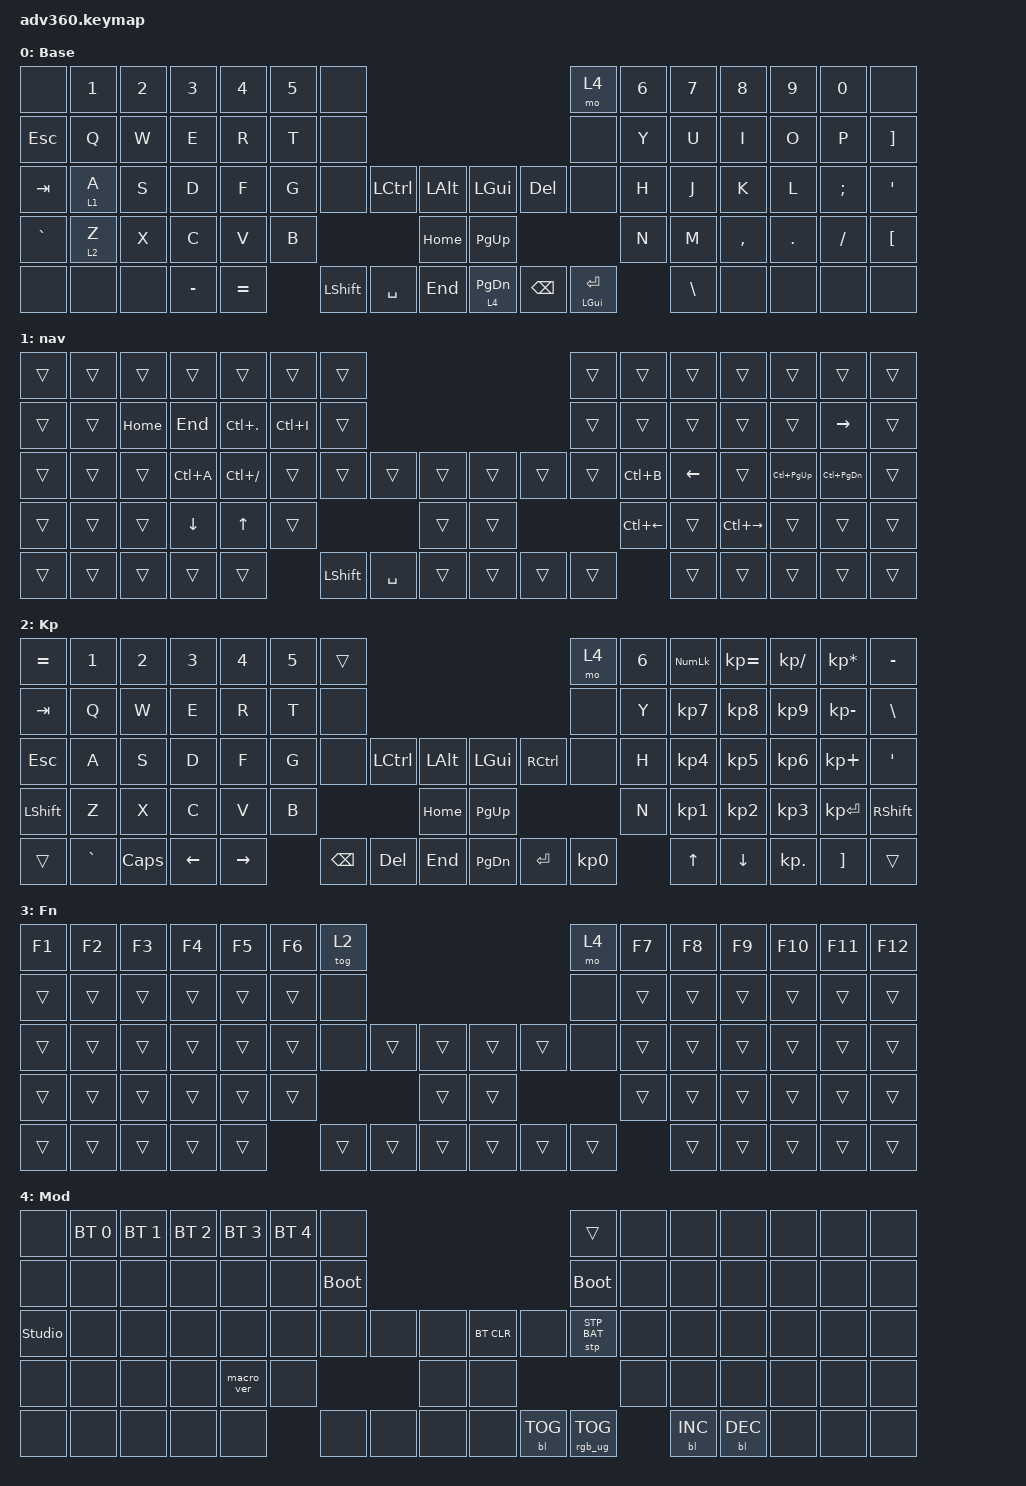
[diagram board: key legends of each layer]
#include <dt-bindings/zmk/stp.h>
#include <behaviors.dtsi>
#include <dt-bindings/zmk/backlight.h>
#include <dt-bindings/zmk/bt.h>
#include <dt-bindings/zmk/keys.h>
#include <dt-bindings/zmk/rgb.h>

&mt {
    tapping-term-ms = <145>;
    quick-tap-ms = <150>;
    require-prior-idle-ms = <100>;
    flavor = "balanced";
};

/ {
    behaviors {
        #include "macros.dtsi"
      #include "version.dtsi"

        hm: homerow_mods {
            compatible = "zmk,behavior-hold-tap";
            label = "HOMEROW_MODS";
            #binding-cells = <2>;
            tapping-term-ms = <145>;
            quick_tap_ms = <150>;
            flavor = "balanced";
            bindings = <&kp>, <&kp>;

            require-prior-idle-ms = <100>;
            quick-tap-ms = <150>;
        };
    };

    keymap {
        compatible = "zmk,keymap";

        default_layer {
            display-name = "Base";
            bindings = <
&none       &kp N1   &kp N2  &kp N3     &kp N4     &kp N5  &none                                                                &mo 4               &kp N6  &kp N7    &kp N8     &kp N9   &kp N0    &none
&kp ESCAPE  &kp Q    &kp W   &kp E      &kp R      &kp T   &none                                                                &none               &kp Y   &kp U     &kp I      &kp O    &kp P     &kp RIGHT_BRACKET
&kp TAB     &lt 1 A  &kp S   &kp D      &kp F      &kp G   &none           &kp LCTRL  &kp LALT      &kp LGUI     &kp DELETE     &none               &kp H   &kp J     &kp K      &kp L    &kp SEMI  &kp SQT
&kp GRAVE   &lt 2 Z  &kp X   &kp C      &kp V      &kp B                              &kp HOME      &kp PG_UP                                       &kp N   &kp M     &kp COMMA  &kp DOT  &kp FSLH  &kp LEFT_BRACKET
&none       &none    &none   &kp MINUS  &kp EQUAL          &kp LEFT_SHIFT  &kp SPACE  &kp END       &lt 4 PG_DN  &kp BACKSPACE  &mt LEFT_GUI ENTER          &kp BSLH  &none      &none    &none     &none
            >;
        };

        nav {
            bindings = <
&trans  &trans  &trans    &trans          &trans          &trans     &trans                                                 &trans  &trans              &trans          &trans         &trans         &trans             &trans
&trans  &trans  &kp HOME  &kp END         &kp LC(PERIOD)  &kp LC(I)  &trans                                                 &trans  &trans              &trans          &trans         &trans         &kp RIGHT          &trans
&trans  &trans  &trans    &kp LC(A)       &kp LC(SLASH)   &trans     &trans          &trans     &trans      &trans  &trans  &trans  &kp LC(B)           &kp LEFT_ARROW  &trans         &kp LC(PG_UP)  &kp LC(PAGE_DOWN)  &trans
&trans  &trans  &trans    &kp DOWN_ARROW  &kp UP_ARROW    &trans                                &trans      &trans                  &kp LC(LEFT_ARROW)  &trans          &kp LC(RIGHT)  &trans         &trans             &trans
&trans  &trans  &trans    &trans          &trans                     &kp LEFT_SHIFT  &kp SPACE  &trans      &trans  &trans  &trans                      &trans          &trans         &trans         &trans             &trans
            >;
        };

        keypad {
            display-name = "Kp";
            bindings = <
&kp EQUAL  &kp N1     &kp N2    &kp N3    &kp N4     &kp N5  &trans                                                   &mo 4      &kp N6  &kp KP_NUM  &kp KP_EQUAL  &kp KP_DIVIDE  &kp KP_MULTIPLY  &kp MINUS
&kp TAB    &kp Q      &kp W     &kp E     &kp R      &kp T   &none                                                    &none      &kp Y   &kp KP_N7   &kp KP_N8     &kp KP_N9      &kp KP_MINUS     &kp BSLH
&kp ESC    &kp A      &kp S     &kp D     &kp F      &kp G   &none     &kp LCTRL  &kp LALT      &kp LGUI   &kp RCTRL  &none      &kp H   &kp KP_N4   &kp KP_N5     &kp KP_N6      &kp KP_PLUS      &kp SQT
&kp LSHFT  &kp Z      &kp X     &kp C     &kp V      &kp B                        &kp HOME      &kp PG_UP                        &kp N   &kp KP_N1   &kp KP_N2     &kp KP_N3      &kp KP_ENTER     &kp RSHFT
&trans     &kp GRAVE  &kp CAPS  &kp LEFT  &kp RIGHT          &kp BSPC  &kp DEL    &kp END       &kp PG_DN  &kp ENTER  &kp KP_N0          &kp UP      &kp DOWN      &kp KP_DOT     &kp RBKT         &trans
            >;
        };

        fn {
            display-name = "Fn";
            bindings = <
&kp F1  &kp F2  &kp F3  &kp F4  &kp F5  &kp F6  &tog 2                                      &mo 4   &kp F7  &kp F8  &kp F9  &kp F10  &kp F11  &kp F12
&trans  &trans  &trans  &trans  &trans  &trans  &none                                       &none   &trans  &trans  &trans  &trans   &trans   &trans
&trans  &trans  &trans  &trans  &trans  &trans  &none   &trans  &trans      &trans  &trans  &none   &trans  &trans  &trans  &trans   &trans   &trans
&trans  &trans  &trans  &trans  &trans  &trans                  &trans      &trans                  &trans  &trans  &trans  &trans   &trans   &trans
&trans  &trans  &trans  &trans  &trans          &trans  &trans  &trans      &trans  &trans  &trans          &trans  &trans  &trans   &trans   &trans
            >;
        };

        mod {
            display-name = "Mod";
            bindings = <
&none           &bt BT_SEL 0  &bt BT_SEL 1  &bt BT_SEL 2  &bt BT_SEL 3  &bt BT_SEL 4  &none                                                  &trans           &none  &none       &none       &none  &none  &none
&none           &none         &none         &none         &none         &none         &bootloader                                            &bootloader      &none  &none       &none       &none  &none  &none
&studio_unlock  &none         &none         &none         &none         &none         &none        &none  &none      &bt BT_CLR  &none       &stp STP_BAT     &none  &none       &none       &none  &none  &none
&none           &none         &none         &none         &macro_ver    &none                             &none      &none                                    &none  &none       &none       &none  &none  &none
&none           &none         &none         &none         &none                       &none        &none  &none      &none       &bl BL_TOG  &rgb_ug RGB_TOG         &bl BL_INC  &bl BL_DEC  &none  &none  &none
            >;
        };
    };
};
